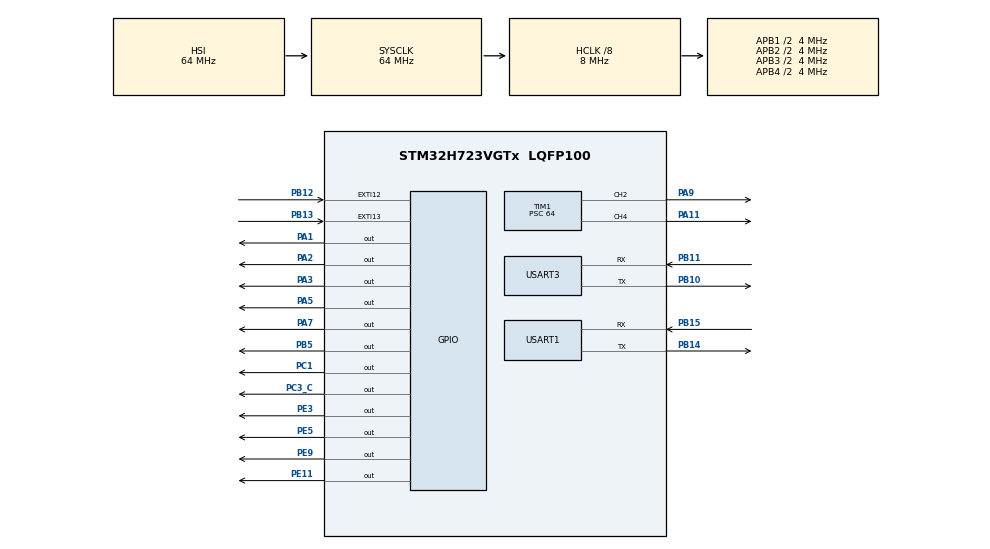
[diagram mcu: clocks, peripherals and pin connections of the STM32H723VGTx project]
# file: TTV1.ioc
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Dma.Request0=USART1_RX
Dma.Request1=USART1_TX
Dma.Request2=USART3_RX
Dma.Request3=USART3_TX
Dma.USART1_RX.0.Direction=DMA_PERIPH_TO_MEMORY
Dma.USART1_RX.0.EventEnable=DISABLE
Dma.USART1_RX.0.FIFOMode=DMA_FIFOMODE_DISABLE
Dma.USART1_RX.0.Instance=DMA1_Stream0
Dma.USART1_RX.0.MemDataAlignment=DMA_MDATAALIGN_BYTE
Dma.USART1_RX.0.MemInc=DMA_MINC_ENABLE
Dma.USART1_RX.0.Mode=DMA_NORMAL
Dma.USART1_RX.0.PeriphDataAlignment=DMA_PDATAALIGN_BYTE
Dma.USART1_RX.0.PeriphInc=DMA_PINC_DISABLE
Dma.USART1_RX.0.Polarity=HAL_DMAMUX_REQ_GEN_RISING
Dma.USART1_RX.0.Priority=DMA_PRIORITY_LOW
Dma.USART1_RX.0.RequestNumber=1
Dma.USART1_RX.0.SignalID=NONE
Dma.USART1_RX.0.SyncEnable=DISABLE
Dma.USART1_RX.0.SyncPolarity=HAL_DMAMUX_SYNC_NO_EVENT
Dma.USART1_RX.0.SyncRequestNumber=1
Dma.USART1_RX.0.SyncSignalID=NONE
Dma.USART1_TX.1.Direction=DMA_MEMORY_TO_PERIPH
Dma.USART1_TX.1.EventEnable=DISABLE
Dma.USART1_TX.1.FIFOMode=DMA_FIFOMODE_DISABLE
Dma.USART1_TX.1.Instance=DMA1_Stream1
Dma.USART1_TX.1.MemDataAlignment=DMA_MDATAALIGN_BYTE
Dma.USART1_TX.1.MemInc=DMA_MINC_ENABLE
Dma.USART1_TX.1.Mode=DMA_NORMAL
Dma.USART1_TX.1.PeriphDataAlignment=DMA_PDATAALIGN_BYTE
Dma.USART1_TX.1.PeriphInc=DMA_PINC_DISABLE
Dma.USART1_TX.1.Polarity=HAL_DMAMUX_REQ_GEN_RISING
Dma.USART1_TX.1.Priority=DMA_PRIORITY_LOW
Dma.USART1_TX.1.RequestNumber=1
Dma.USART1_TX.1.SignalID=NONE
Dma.USART1_TX.1.SyncEnable=DISABLE
Dma.USART1_TX.1.SyncPolarity=HAL_DMAMUX_SYNC_NO_EVENT
Dma.USART1_TX.1.SyncRequestNumber=1
Dma.USART1_TX.1.SyncSignalID=NONE
Dma.USART3_RX.2.Direction=DMA_PERIPH_TO_MEMORY
Dma.USART3_RX.2.EventEnable=DISABLE
Dma.USART3_RX.2.FIFOMode=DMA_FIFOMODE_DISABLE
Dma.USART3_RX.2.Instance=DMA1_Stream2
Dma.USART3_RX.2.MemDataAlignment=DMA_MDATAALIGN_BYTE
Dma.USART3_RX.2.MemInc=DMA_MINC_ENABLE
Dma.USART3_RX.2.Mode=DMA_NORMAL
Dma.USART3_RX.2.PeriphDataAlignment=DMA_PDATAALIGN_BYTE
Dma.USART3_RX.2.PeriphInc=DMA_PINC_DISABLE
Dma.USART3_RX.2.Polarity=HAL_DMAMUX_REQ_GEN_RISING
Dma.USART3_RX.2.Priority=DMA_PRIORITY_LOW
Dma.USART3_RX.2.RequestNumber=1
Dma.USART3_RX.2.SignalID=NONE
Dma.USART3_RX.2.SyncEnable=DISABLE
Dma.USART3_RX.2.SyncPolarity=HAL_DMAMUX_SYNC_NO_EVENT
Dma.USART3_RX.2.SyncRequestNumber=1
Dma.USART3_RX.2.SyncSignalID=NONE
Dma.USART3_TX.3.Direction=DMA_MEMORY_TO_PERIPH
Dma.USART3_TX.3.EventEnable=DISABLE
Dma.USART3_TX.3.FIFOMode=DMA_FIFOMODE_DISABLE
Dma.USART3_TX.3.Instance=DMA1_Stream3
Dma.USART3_TX.3.MemDataAlignment=DMA_MDATAALIGN_BYTE
Dma.USART3_TX.3.MemInc=DMA_MINC_ENABLE
Dma.USART3_TX.3.Mode=DMA_NORMAL
Dma.USART3_TX.3.PeriphDataAlignment=DMA_PDATAALIGN_BYTE
Dma.USART3_TX.3.PeriphInc=DMA_PINC_DISABLE
Dma.USART3_TX.3.Polarity=HAL_DMAMUX_REQ_GEN_RISING
Dma.USART3_TX.3.Priority=DMA_PRIORITY_LOW
Dma.USART3_TX.3.RequestNumber=1
Dma.USART3_TX.3.SignalID=NONE
Dma.USART3_TX.3.SyncEnable=DISABLE
Dma.USART3_TX.3.SyncPolarity=HAL_DMAMUX_SYNC_NO_EVENT
Dma.USART3_TX.3.SyncRequestNumber=1
Dma.USART3_TX.3.SyncSignalID=NONE
Mcu.Family=STM32H7
Mcu.Name=STM32H723VGTx
Mcu.Package=LQFP100
NVIC.DMA1_Stream0_IRQn=true\:0\:0\:false\:false\:true\:false\:true\:true
NVIC.DMA1_Stream1_IRQn=true\:0\:0\:false\:false\:true\:false\:true\:true
NVIC.DMA1_Stream2_IRQn=true\:0\:0\:false\:false\:true\:false\:true\:true
NVIC.DMA1_Stream3_IRQn=true\:0\:0\:false\:false\:true\:false\:true\:true
NVIC.EXTI15_10_IRQn=true\:0\:0\:false\:false\:true\:true\:true\:true
NVIC.PriorityGroup=NVIC_PRIORITYGROUP_4
NVIC.USART1_IRQn=true\:0\:0\:false\:false\:true\:true\:true\:true
NVIC.USART3_IRQn=true\:0\:0\:false\:false\:true\:true\:true\:true
PA1.Signal=GPIO_Output
PA11.Signal=S_TIM1_CH4
PA2.Signal=GPIO_Output
PA3.Signal=GPIO_Output
PA5.Signal=GPIO_Output
PA7.Signal=GPIO_Output
PA9.Signal=S_TIM1_CH2
PB10.Mode=Asynchronous
PB10.Signal=USART3_TX
PB11.Mode=Asynchronous
PB11.Signal=USART3_RX
PB12.GPIO_ModeDefaultEXTI=GPIO_MODE_IT_FALLING
PB12.GPIO_PuPd=GPIO_NOPULL
PB12.Signal=GPXTI12
PB13.GPIO_ModeDefaultEXTI=GPIO_MODE_IT_FALLING
PB13.GPIO_PuPd=GPIO_NOPULL
PB13.Signal=GPXTI13
PB14.Mode=Asynchronous
PB14.Signal=USART1_TX
PB15.Mode=Asynchronous
PB15.Signal=USART1_RX
PB5.Signal=GPIO_Output
PC1.Signal=GPIO_Output
PC3_C.Signal=GPIO_Output
PE11.Signal=GPIO_Output
PE3.Signal=GPIO_Output
PE5.Signal=GPIO_Output
PE9.Signal=GPIO_Output
PH0-OSC_IN.Mode=HSE-External-Oscillator
PH0-OSC_IN.Signal=RCC_OSC_IN
PH1-OSC_OUT.Mode=HSE-External-Oscillator
PH1-OSC_OUT.Signal=RCC_OSC_OUT
ProjectManager.HeapSize=0x200
ProjectManager.StackSize=0x400
ProjectManager.TargetToolchain=STM32CubeIDE
RCC.ADCCLockSelection=RCC_ADCCLKSOURCE_PLL2
RCC.ADCFreq_Value=50390625
RCC.APB1Freq_Value=4000000
RCC.APB2Freq_Value=4000000
RCC.APB3Freq_Value=4000000
RCC.APB4Freq_Value=4000000
RCC.CECCLockSelection=RCC_CECCLKSOURCE_LSI
RCC.CKPERSourceSelection=RCC_CLKPSOURCE_HSI
RCC.CSI_VALUE=4000000
RCC.CortexFreq_Value=8000000
RCC.Cortex_Div=SYSTICK_CLKSOURCE_HCLK
RCC.Cortex_DivARG=SystemCoreClock/1000
RCC.D1CPRE=RCC_SYSCLK_DIV8
RCC.D1PPRE=RCC_APB3_DIV2
RCC.D2PPRE1=RCC_APB1_DIV2
RCC.D2PPRE2=RCC_APB2_DIV2
RCC.D3PPRE=RCC_APB4_DIV2
RCC.DFSDMCLockSelection=RCC_DFSDM1CLKSOURCE_D2PCLK1
RCC.DIVM1=32
RCC.DIVM2=32
RCC.DIVM3=32
RCC.DIVN1=129
RCC.DIVN2=129
RCC.DIVN3=129
RCC.DIVP1=2
RCC.DIVP2=2
RCC.DIVP3=2
RCC.DIVQ1=2
RCC.DIVQ2=2
RCC.DIVQ3=2
RCC.DIVR1=2
RCC.DIVR2=2
RCC.DIVR3=2
RCC.DSICLockSelection=RCC_DSICLKSOURCE_PHY
RCC.DSIPHY_Div=8
RCC.DSITX_Div=4
RCC.DSI_PHY_VALUE=12288000
RCC.EXTERNAL_CLOCK_VALUE=12288000
RCC.FDCANCLockSelection=RCC_FDCANCLKSOURCE_PLL
RCC.FMCCLockSelection=RCC_FMCCLKSOURCE_D1HCLK
RCC.HCLKFreq_Value=8000000
RCC.HPRE=RCC_HCLK_DIV1
RCC.HSE_VALUE=25000000
RCC.HSI48_VALUE=48000000
RCC.HSIDiv=RCC_PLLSAIDIVR_1
RCC.HSI_VALUE=64000000
RCC.I2C123CLockSelection=RCC_I2C1235CLKSOURCE_D2PCLK1
RCC.I2C4CLockSelection=RCC_I2C4CLKSOURCE_D3PCLK1
RCC.LPTIM1CLockSelection=RCC_LPTIM1CLKSOURCE_D2PCLK1
RCC.LPTIM2CLockSelection=RCC_LPTIM2CLKSOURCE_D3PCLK1
RCC.LPTIM345CLockSelection=RCC_LPTIM345CLKSOURCE_D3PCLK1
RCC.LPUART1CLockSelection=RCC_LPUART1CLKSOURCE_D3PCLK1
RCC.PLL2_VCI_Range-AdvancedSettings=RCC_PLL2VCIRANGE_3
RCC.PLLDSIDev=2
RCC.PLLDSIIDF=DSI_PLL_IN_DIV1
RCC.PLLDSIMult=2
RCC.PLLDSINDIV=20
RCC.PLLDSIODF=DSI_PLL_OUT_DIV1
RCC.PLLSourceVirtual=RCC_PLLSOURCE_HSE
RCC.QSPICLockSelection=RCC_OSPICLKSOURCE_D1HCLK
RCC.RCC_MCO1Source=RCC_MCO1SOURCE_HSI
RCC.RCC_MCO2Source=RCC_MCO2SOURCE_SYSCLK
RCC.RCC_MCODiv1=RCC_MCODIV_1
RCC.RCC_MCODiv2=RCC_MCODIV_1
RCC.RCC_RTC_Clock_Source_FROM_HSE=RCC_RTCCLKSOURCE_HSE_DIV2
RCC.RNGCLockSelection=RCC_RNGCLKSOURCE_HSI48
RCC.SAI1CLockSelection=RCC_SAI1CLKSOURCE_PLL
RCC.SAI4ACLockSelection=RCC_SAI4ACLKSOURCE_PLL
RCC.SAI4BCLockSelection=RCC_SAI4BCLKSOURCE_PLL
RCC.SPDIFCLockSelection=RCC_SPDIFRXCLKSOURCE_PLL
RCC.SPI123CLockSelection=RCC_SPI123CLKSOURCE_PLL
RCC.SPI6CLockSelection=RCC_SPI6CLKSOURCE_D3PCLK1
RCC.SWPCLockSelection=RCC_SWPMI1CLKSOURCE_D2PCLK1
RCC.SYSCLKFreq_VALUE=64000000
RCC.SYSCLKSource=RCC_SYSCLKSOURCE_HSI
RCC.Spi45ClockSelection=RCC_SPI45CLKSOURCE_D2PCLK1
RCC.USART16CLockSelection=RCC_USART16910CLKSOURCE_D2PCLK2
RCC.USART234578CLockSelection=RCC_USART234578CLKSOURCE_D2PCLK1
RCC.USBCLockSelection=RCC_USBCLKSOURCE_PLL
RCC.USBFreq_Value=50390625
SH.S_TIM1_CH2.0=TIM1_CH2,PWM Generation2 CH2
SH.S_TIM1_CH4.0=TIM1_CH4,PWM Generation4 CH4
TIM1.Channel-PWM\ Generation2\ CH2=TIM_CHANNEL_2
TIM1.Channel-PWM\ Generation4\ CH4=TIM_CHANNEL_4
TIM1.Period=2499
TIM1.Prescaler=64
USART1.VirtualMode-Asynchronous=VM_ASYNC
USART3.VirtualMode-Asynchronous=VM_ASYNC
board=custom

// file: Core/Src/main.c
/* USER CODE BEGIN Header */
/**
  ******************************************************************************
  * @file           : main.c
  * @brief          : Main program body
  ******************************************************************************
  * @attention
  *
  * Copyright (c) 2024 STMicroelectronics.
  * All rights reserved.
  *
  * This software is licensed under terms that can be found in the LICENSE file
  * in the root directory of this software component.
  * If no LICENSE file comes with this software, it is provided AS-IS.
  *
  ******************************************************************************
  */
/* USER CODE END Header */
#include "main.h"
#include <stdlib.h>
#include <stdio.h>
#include <string.h>
#include <math.h>

/* USER CODE BEGIN PM */

#define VALOR_0 65
#define VALOR_PI 295

#define ENABLE_PIN GPIO_PIN_3
#define MS0_PIN GPIO_PIN_5
#define MS1_PIN GPIO_PIN_1
#define MS2_PIN GPIO_PIN_3

#define VELOCIDAD 0.5

#define bufersize 1
#define BUFFER_SIZE 256

/* USER CODE END PM */

TIM_HandleTypeDef htim1;

UART_HandleTypeDef huart1;
UART_HandleTypeDef huart3;
DMA_HandleTypeDef hdma_usart1_rx;
DMA_HandleTypeDef hdma_usart1_tx;
DMA_HandleTypeDef hdma_usart3_rx;
DMA_HandleTypeDef hdma_usart3_tx;

/* USER CODE BEGIN PV */
uint8_t byte;
uint8_t buffer[BUFFER_SIZE];
uint16_t bufferIndex = 0;
uint8_t bufferOverflowFlag = 0; // Bandera para indicar desbordamiento

GPIO_TypeDef* GPIO_PORT_LED = GPIOE;   // Puerto GPIO donde está conectado el LED
uint16_t GPIO_PIN_LED = GPIO_PIN_3;     // Pin GPIO que controla el LED

uint8_t stringToSend[] = "Hola";  // Define la cadena que deseas enviar
uint8_t prueba_1[] = "Flag_1";  // Define la cadena que deseas enviar
uint8_t tx1_buffer[20]="Welcome to stm32\n\r";
uint8_t tx2_buffer[20]="Welcome \n\r";
uint8_t rx1_buffer;
uint8_t received_data;

char q1[BUFFER_SIZE] = {0};
char q2[BUFFER_SIZE] = {0};
char q3[BUFFER_SIZE] = {0};
char q4[BUFFER_SIZE] = {0};

volatile uint8_t UASART = 0;

uint32_t radianes_a_valor(float radianes) {
    // Ajusta los radianes negativos a su equivalente positivo en el rango de 0 a 2PI
    if (radianes < 0) {
        //radianes +=2.87979;
    	radianes = 0;
    }

    // Normaliza el valor de radianes en el rango de 0 a PI
    if (radianes > M_PI) {
        radianes = M_PI;
    }

    return VALOR_0 + (uint32_t)((VALOR_PI - VALOR_0) * (radianes / M_PI));
}
uint32_t milimetros_a_pasos(float milimetros) {
    // Calcular el número de pasos necesarios para mover la distancia en milímetros
    float pasos_por_mm = 200.0 / 8.0; // 200 pasos por 8 mm
    return (uint32_t)(fabs(milimetros) * pasos_por_mm);
}
/* USER CODE END PV */

/* USER CODE BEGIN 4 */
volatile uint8_t motor_running = 1;// Variable to control motor state
volatile uint8_t motor_running1 = 1;

volatile int pasos_retroceso = 0;

void HAL_GPIO_EXTI_Callback(uint16_t GPIO_Pin) {
    if (GPIO_Pin == GPIO_PIN_12) {
        motor_running = 0; // Stop the motor when the interrupt occurs
    }

    if (GPIO_Pin == GPIO_PIN_13) {
    	motor_running1 = 0; // Stop the motor when the interrupt occurs
    }
}

int paso_actual_q1 = 0;
int paso_actual_q2 = 5350;
int paso_actual_q3 = 0;

float q1_float;
float q4_float;
int q2_int;
int q3_int;

/* USER CODE END PV */

/* Private function prototypes -----------------------------------------------*/
void SystemClock_Config(void);
static void MX_GPIO_Init(void);
static void MX_USART1_UART_Init(void);
static void MX_DMA_Init(void);
static void MX_TIM1_Init(void);
static void MX_USART3_UART_Init(void);

void processBuffer(uint8_t *buffer, uint16_t length);
void A4988_Setup();
void mover_motorq1(float radianes);
void motor_control(void);
void motor_control1(void);
void Home (void);
void mover_motorq2_mm(float milimetros);
void mover_motorq3_mm(float milimetros);

/* USER CODE BEGIN PFP */

/* USER CODE END PFP */

/* Private user code ---------------------------------------------------------*/
/* USER CODE BEGIN 0 */

/* USER CODE END 0 */

/**
  * @brief  The application entry point.
  * @retval int
  */
int main(void)
{
  /* USER CODE BEGIN 1 */

  /* USER CODE END 1 */

  /* MCU Configuration--------------------------------------------------------*/

  /* Reset of all peripherals, Initializes the Flash interface and the Systick. */
  HAL_Init();

  /* USER CODE BEGIN Init */

  /* USER CODE END Init */

  /* Configure the system clock */
  SystemClock_Config();

  /* USER CODE BEGIN SysInit */

  /* USER CODE END SysInit */

  /* Initialize all configured peripherals */
  MX_GPIO_Init();
  MX_USART1_UART_Init();
  MX_DMA_Init();
  MX_TIM1_Init();
  MX_USART3_UART_Init();
  /* USER CODE BEGIN 2 */
  HAL_TIM_PWM_Start(&htim1, TIM_CHANNEL_4);
  HAL_TIM_PWM_Start(&htim1, TIM_CHANNEL_2);
  //HAL_UART_Receive_IT(&huart3, &rx1_buffer, sizeof(rx1_buffer));
  HAL_UART_Receive_IT(&huart1,&byte,bufersize);

  A4988_Setup();
  //Home();

    //char q1[]="1.5707";
  	//char q2[]="150";
  	//char q3[]="0";
  	//char q4[]="1.5707";

  	// Conversión de q1 y q4 a float
  	//q1_float = atof(q1);
  	//q4_float = atof(q4);

  	// Conversión de q2 y q3 a int (truncando los valores decimales)
  	//q2_int = (int)atof(q2);
  	//q3_int = (int)atof(q3);

  	 //mover_motorq1(q1_float);
  	 //mover_motorq2_mm(q2_int);
  	 //mover_motorq3_mm(q3_int);
  	 //TIM1->CCR2 = radianes_a_valor(q4_float);

  	 //HAL_Delay(2000);

  	 //strcpy(q1, "2.8274");
  	 //strcpy(q2, "155");

  	 // Conversión de q1 y q4 a float
  	 //q1_float = atof(q1);

  	 // Conversión de q2 y q3 a int (truncando los valores decimales)
  	 //q2_int = (int)atof(q2);

  	 //mover_motorq1(q1_float);
  	// mover_motorq2_mm(q2_int);
  	 //mover_motorq3_mm(q3_int);
  	// TIM1->CCR2 = radianes_a_valor(q4_float);

  	 //HAL_Delay(2000);

  	 //strcpy(q1, "4.084");
  	 //strcpy(q2, "145");

  	 // Conversión de q1 y q4 a float
  	 //q1_float = atof(q1);

  	 // Conversión de q2 y q3 a int (truncando los valores decimales)
  	 //q2_int = (int)atof(q2);

  	 //mover_motorq1(q1_float);
  	 //mover_motorq2_mm(q2_int);
  	 //mover_motorq3_mm(q3_int);
  	 //TIM1->CCR2 = radianes_a_valor(q4_float);

  	 //HAL_Delay(2000);

  	//strcpy(q1, "1.5707");
  	//strcpy(q2, "140");
  	//strcpy(q3, "48");
  	//strcpy(q4, "1.74533");

  	// Conversión de q1 y q4 a float
  	//q1_float = atof(q1);
  	//q4_float = atof(q4);

  	// Conversión de q2 y q3 a int (truncando los valores decimales)
  	//q2_int = (int)atof(q2);
  	//q3_int = (int)atof(q3);

  	//mover_motorq1(q1_float);
  	//mover_motorq2_mm(q2_int);
  	//mover_motorq3_mm(q3_int);
  	//TIM1->CCR2 = radianes_a_valor(q4_float);

  	//HAL_Delay(2000);

  	//strcpy(q1, "3.1415");
  	//strcpy(q2, "145");
  	//strcpy(q3, "95");
  	//strcpy(q4, "1.8326");

  	// Conversión de q1 y q4 a float
  	//q1_float = atof(q1);
  	//q4_float = atof(q4);

  	// Conversión de q2 y q3 a int (truncando los valores decimales)
  	//q2_int = (int)atof(q2);
  	//q3_int = (int)atof(q3);

  	//mover_motorq1(q1_float);
  	//mover_motorq2_mm(q2_int);
  	//mover_motorq3_mm(q3_int);
  	//TIM1->CCR2 = radianes_a_valor(q4_float);

  	//HAL_Delay(2000);

  	//strcpy(q1, "2.82743");
  	//strcpy(q2, "165");
  	//strcpy(q3, "179");
  	//strcpy(q4, "1.91986");

  	// Conversión de q1 y q4 a float
  	//q1_float = atof(q1);
  	//q4_float = atof(q4);

  	// Conversión de q2 y q3 a int (truncando los valores decimales)
//  	q2_int = (int)atof(q2);
//  	q3_int = (int)atof(q3);
//
//  	mover_motorq1(q1_float);
//  	mover_motorq2_mm(q2_int);
//  	mover_motorq3_mm(q3_int);
//  	TIM1->CCR2 = radianes_a_valor(q4_float);
//
//  	HAL_Delay(2000);
//  TIM1->CCR2 = 181;
//  TIM1->CCR4 = 183;
//  mover_motorq1(0);
//  mover_motorq2_mm(0);
//  mover_motorq3_mm(215);
//  TIM1->CCR2 = radianes_a_valor(1.5707);
//
//
//  mover_motorq1(0);
//  mover_motorq2_mm(100);
//  mover_motorq3_mm(100);
  TIM1->CCR2 = radianes_a_valor(M_PI/2);
  TIM1->CCR4 = radianes_a_valor(M_PI/4);
//
//  mover_motorq1(0);
//  HAL_Delay(2000);
//  mover_motorq1(M_PI/2);
//  HAL_Delay(2000);
//  mover_motorq1(M_PI);
//  HAL_Delay(2000);
//  mover_motorq1((3*M_PI)/2);
//  HAL_Delay(2000);
//  mover_motorq1(2*M_PI);
//  HAL_Delay(2000);
//  mover_motorq1(M_PI/4);
//  HAL_Delay(2000);
//  mover_motorq1((3*M_PI)/4);
//  HAL_Delay(2000);
//  mover_motorq1(0);
//  HAL_Delay(2000);
//  mover_motorq2_mm(210);
//  mover_motorq3_mm(215);
//  TIM1->CCR2 = radianes_a_valor(1.85912472);

//  TIM1->CCR2 = radianes_a_valor(0);
//  HAL_Delay(2000);
//  TIM1->CCR2 = radianes_a_valor(1.5708);
//    HAL_Delay(2000);
//    TIM1->CCR2 = radianes_a_valor(M_PI);
//      HAL_Delay(2000);

//  TIM1->CCR2 = 298;
//
//  TIM1->CCR2 = 299;
//
//  TIM1->CCR2 = 300;
//
//  TIM1->CCR2 = 301;
//
//  TIM1->CCR2 = 302;
//
//  TIM1->CCR2 = 303;
//
//  TIM1->CCR2 = 304;
  /* USER CODE END 2 */

  /* Infinite loop */
  /* USER CODE BEGIN WHILE */
  while (1)
  {

//	     q1_float = atof(q1);
//	     q4_float = atof(q4);
//
//	      	// Conversión de q2 y q3 a int (truncando los valores decimales)
//	     q2_int = (int)atof(q2);
//	     q3_int = (int)atof(q3);

  }
  /* USER CODE END 3 */
}

/**
  * @brief System Clock Configuration
  * @retval None
  */
void SystemClock_Config(void)
{
  RCC_OscInitTypeDef RCC_OscInitStruct = {0};
  RCC_ClkInitTypeDef RCC_ClkInitStruct = {0};

  /** Supply configuration update enable
  */
  HAL_PWREx_ConfigSupply(PWR_LDO_SUPPLY);

  /** Configure the main internal regulator output voltage
  */
  __HAL_PWR_VOLTAGESCALING_CONFIG(PWR_REGULATOR_VOLTAGE_SCALE3);

  while(!__HAL_PWR_GET_FLAG(PWR_FLAG_VOSRDY)) {}

  /** Initializes the RCC Oscillators according to the specified parameters
  * in the RCC_OscInitTypeDef structure.
  */
  RCC_OscInitStruct.OscillatorType = RCC_OSCILLATORTYPE_HSI;
  RCC_OscInitStruct.HSIState = RCC_HSI_DIV1;
  RCC_OscInitStruct.HSICalibrationValue = RCC_HSICALIBRATION_DEFAULT;
  RCC_OscInitStruct.PLL.PLLState = RCC_PLL_NONE;
  if (HAL_RCC_OscConfig(&RCC_OscInitStruct) != HAL_OK)
  {
    Error_Handler();
  }

  /** Initializes the CPU, AHB and APB buses clocks
  */
  RCC_ClkInitStruct.ClockType = RCC_CLOCKTYPE_HCLK|RCC_CLOCKTYPE_SYSCLK
                              |RCC_CLOCKTYPE_PCLK1|RCC_CLOCKTYPE_PCLK2
                              |RCC_CLOCKTYPE_D3PCLK1|RCC_CLOCKTYPE_D1PCLK1;
  RCC_ClkInitStruct.SYSCLKSource = RCC_SYSCLKSOURCE_HSI;
  RCC_ClkInitStruct.SYSCLKDivider = RCC_SYSCLK_DIV8;
  RCC_ClkInitStruct.AHBCLKDivider = RCC_HCLK_DIV1;
  RCC_ClkInitStruct.APB3CLKDivider = RCC_APB3_DIV2;
  RCC_ClkInitStruct.APB1CLKDivider = RCC_APB1_DIV2;
  RCC_ClkInitStruct.APB2CLKDivider = RCC_APB2_DIV2;
  RCC_ClkInitStruct.APB4CLKDivider = RCC_APB4_DIV2;

  if (HAL_RCC_ClockConfig(&RCC_ClkInitStruct, FLASH_LATENCY_0) != HAL_OK)
  {
    Error_Handler();
  }
}

/**
  * @brief TIM1 Initialization Function
  * @param None
  * @retval None
  */
static void MX_TIM1_Init(void)
{

  /* USER CODE BEGIN TIM1_Init 0 */

  /* USER CODE END TIM1_Init 0 */

  TIM_MasterConfigTypeDef sMasterConfig = {0};
  TIM_OC_InitTypeDef sConfigOC = {0};
  TIM_BreakDeadTimeConfigTypeDef sBreakDeadTimeConfig = {0};

  /* USER CODE BEGIN TIM1_Init 1 */

  /* USER CODE END TIM1_Init 1 */
  htim1.Instance = TIM1;
  htim1.Init.Prescaler = 64;
  htim1.Init.CounterMode = TIM_COUNTERMODE_UP;
  htim1.Init.Period = 2499;
  htim1.Init.ClockDivision = TIM_CLOCKDIVISION_DIV1;
  htim1.Init.RepetitionCounter = 0;
  htim1.Init.AutoReloadPreload = TIM_AUTORELOAD_PRELOAD_DISABLE;
  if (HAL_TIM_PWM_Init(&htim1) != HAL_OK)
  {
    Error_Handler();
  }
  sMasterConfig.MasterOutputTrigger = TIM_TRGO_RESET;
  sMasterConfig.MasterOutputTrigger2 = TIM_TRGO2_RESET;
  sMasterConfig.MasterSlaveMode = TIM_MASTERSLAVEMODE_DISABLE;
  if (HAL_TIMEx_MasterConfigSynchronization(&htim1, &sMasterConfig) != HAL_OK)
  {
    Error_Handler();
  }
  sConfigOC.OCMode = TIM_OCMODE_PWM1;
  sConfigOC.Pulse = 0;
  sConfigOC.OCPolarity = TIM_OCPOLARITY_HIGH;
  sConfigOC.OCNPolarity = TIM_OCNPOLARITY_HIGH;
  sConfigOC.OCFastMode = TIM_OCFAST_DISABLE;
  sConfigOC.OCIdleState = TIM_OCIDLESTATE_RESET;
  sConfigOC.OCNIdleState = TIM_OCNIDLESTATE_RESET;
  if (HAL_TIM_PWM_ConfigChannel(&htim1, &sConfigOC, TIM_CHANNEL_2) != HAL_OK)
  {
    Error_Handler();
  }
  if (HAL_TIM_PWM_ConfigChannel(&htim1, &sConfigOC, TIM_CHANNEL_4) != HAL_OK)
  {
    Error_Handler();
  }
  sBreakDeadTimeConfig.OffStateRunMode = TIM_OSSR_DISABLE;
  sBreakDeadTimeConfig.OffStateIDLEMode = TIM_OSSI_DISABLE;
  sBreakDeadTimeConfig.LockLevel = TIM_LOCKLEVEL_OFF;
  sBreakDeadTimeConfig.DeadTime = 0;
  sBreakDeadTimeConfig.BreakState = TIM_BREAK_DISABLE;
  sBreakDeadTimeConfig.BreakPolarity = TIM_BREAKPOLARITY_HIGH;
  sBreakDeadTimeConfig.BreakFilter = 0;
  sBreakDeadTimeConfig.Break2State = TIM_BREAK2_DISABLE;
  sBreakDeadTimeConfig.Break2Polarity = TIM_BREAK2POLARITY_HIGH;
  sBreakDeadTimeConfig.Break2Filter = 0;
  sBreakDeadTimeConfig.AutomaticOutput = TIM_AUTOMATICOUTPUT_DISABLE;
  if (HAL_TIMEx_ConfigBreakDeadTime(&htim1, &sBreakDeadTimeConfig) != HAL_OK)
  {
    Error_Handler();
  }
  /* USER CODE BEGIN TIM1_Init 2 */

  /* USER CODE END TIM1_Init 2 */
  HAL_TIM_MspPostInit(&htim1);

}

/**
  * @brief USART1 Initialization Function
  * @param None
  * @retval None
  */
static void MX_USART1_UART_Init(void)
{

  /* USER CODE BEGIN USART1_Init 0 */

  /* USER CODE END USART1_Init 0 */

  /* USER CODE BEGIN USART1_Init 1 */

  /* USER CODE END USART1_Init 1 */
  huart1.Instance = USART1;
  huart1.Init.BaudRate = 115200;
  huart1.Init.WordLength = UART_WORDLENGTH_8B;
  huart1.Init.StopBits = UART_STOPBITS_1;
  huart1.Init.Parity = UART_PARITY_NONE;
  huart1.Init.Mode = UART_MODE_TX_RX;
  huart1.Init.HwFlowCtl = UART_HWCONTROL_NONE;
  huart1.Init.OverSampling = UART_OVERSAMPLING_16;
  huart1.Init.OneBitSampling = UART_ONE_BIT_SAMPLE_DISABLE;
  huart1.Init.ClockPrescaler = UART_PRESCALER_DIV1;
  huart1.AdvancedInit.AdvFeatureInit = UART_ADVFEATURE_NO_INIT;
  if (HAL_UART_Init(&huart1) != HAL_OK)
  {
    Error_Handler();
  }
  if (HAL_UARTEx_SetTxFifoThreshold(&huart1, UART_TXFIFO_THRESHOLD_1_8) != HAL_OK)
  {
    Error_Handler();
  }
  if (HAL_UARTEx_SetRxFifoThreshold(&huart1, UART_RXFIFO_THRESHOLD_1_8) != HAL_OK)
  {
    Error_Handler();
  }
  if (HAL_UARTEx_DisableFifoMode(&huart1) != HAL_OK)
  {
    Error_Handler();
  }
  /* USER CODE BEGIN USART1_Init 2 */

  /* USER CODE END USART1_Init 2 */

}

/**
  * @brief USART3 Initialization Function
  * @param None
  * @retval None
  */
static void MX_USART3_UART_Init(void)
{

  /* USER CODE BEGIN USART3_Init 0 */

  /* USER CODE END USART3_Init 0 */

  /* USER CODE BEGIN USART3_Init 1 */

  /* USER CODE END USART3_Init 1 */
  huart3.Instance = USART3;
  huart3.Init.BaudRate = 115200;
  huart3.Init.WordLength = UART_WORDLENGTH_8B;
  huart3.Init.StopBits = UART_STOPBITS_1;
  huart3.Init.Parity = UART_PARITY_NONE;
  huart3.Init.Mode = UART_MODE_TX_RX;
  huart3.Init.HwFlowCtl = UART_HWCONTROL_NONE;
  huart3.Init.OverSampling = UART_OVERSAMPLING_16;
  huart3.Init.OneBitSampling = UART_ONE_BIT_SAMPLE_DISABLE;
  huart3.Init.ClockPrescaler = UART_PRESCALER_DIV1;
  huart3.AdvancedInit.AdvFeatureInit = UART_ADVFEATURE_NO_INIT;
  if (HAL_UART_Init(&huart3) != HAL_OK)
  {
    Error_Handler();
  }
  if (HAL_UARTEx_SetTxFifoThreshold(&huart3, UART_TXFIFO_THRESHOLD_1_8) != HAL_OK)
  {
    Error_Handler();
  }
  if (HAL_UARTEx_SetRxFifoThreshold(&huart3, UART_RXFIFO_THRESHOLD_1_8) != HAL_OK)
  {
    Error_Handler();
  }
  if (HAL_UARTEx_DisableFifoMode(&huart3) != HAL_OK)
  {
    Error_Handler();
  }
  /* USER CODE BEGIN USART3_Init 2 */

  /* USER CODE END USART3_Init 2 */

}

/**
  * Enable DMA controller clock
  */
static void MX_DMA_Init(void)
{

  /* DMA controller clock enable */
  __HAL_RCC_DMA1_CLK_ENABLE();

  /* DMA interrupt init */
  /* DMA1_Stream0_IRQn interrupt configuration */
  HAL_NVIC_SetPriority(DMA1_Stream0_IRQn, 0, 0);
  HAL_NVIC_EnableIRQ(DMA1_Stream0_IRQn);
  /* DMA1_Stream1_IRQn interrupt configuration */
  HAL_NVIC_SetPriority(DMA1_Stream1_IRQn, 0, 0);
  HAL_NVIC_EnableIRQ(DMA1_Stream1_IRQn);
  /* DMA1_Stream2_IRQn interrupt configuration */
  HAL_NVIC_SetPriority(DMA1_Stream2_IRQn, 0, 0);
  HAL_NVIC_EnableIRQ(DMA1_Stream2_IRQn);
  /* DMA1_Stream3_IRQn interrupt configuration */
  HAL_NVIC_SetPriority(DMA1_Stream3_IRQn, 0, 0);
  HAL_NVIC_EnableIRQ(DMA1_Stream3_IRQn);

}

/**
  * @brief GPIO Initialization Function
  * @param None
  * @retval None
  */
static void MX_GPIO_Init(void)
{
  GPIO_InitTypeDef GPIO_InitStruct = {0};

  /* GPIO Ports Clock Enable */
  __HAL_RCC_GPIOE_CLK_ENABLE();
  __HAL_RCC_GPIOC_CLK_ENABLE();
  __HAL_RCC_GPIOH_CLK_ENABLE();
  __HAL_RCC_GPIOA_CLK_ENABLE();
  __HAL_RCC_GPIOB_CLK_ENABLE();

  /*Configure GPIO pin Output Level */
  HAL_GPIO_WritePin(GPIOE, GPIO_PIN_3|GPIO_PIN_5|GPIO_PIN_9|GPIO_PIN_11, GPIO_PIN_RESET);

  /*Configure GPIO pin Output Level */
  HAL_GPIO_WritePin(GPIOC, GPIO_PIN_1|GPIO_PIN_3, GPIO_PIN_RESET);

  /*Configure GPIO pin Output Level */
  HAL_GPIO_WritePin(GPIOA, GPIO_PIN_1|GPIO_PIN_2|GPIO_PIN_3|GPIO_PIN_5
                          |GPIO_PIN_7, GPIO_PIN_RESET);

  /*Configure GPIO pin Output Level */
  HAL_GPIO_WritePin(GPIOB, GPIO_PIN_5, GPIO_PIN_RESET);

  /*Configure GPIO pins : PE3 PE5 PE9 PE11 */
  GPIO_InitStruct.Pin = GPIO_PIN_3|GPIO_PIN_5|GPIO_PIN_9|GPIO_PIN_11;
  GPIO_InitStruct.Mode = GPIO_MODE_OUTPUT_PP;
  GPIO_InitStruct.Pull = GPIO_NOPULL;
  GPIO_InitStruct.Speed = GPIO_SPEED_FREQ_LOW;
  HAL_GPIO_Init(GPIOE, &GPIO_InitStruct);

  /*Configure GPIO pins : PC1 PC3 */
  GPIO_InitStruct.Pin = GPIO_PIN_1|GPIO_PIN_3;
  GPIO_InitStruct.Mode = GPIO_MODE_OUTPUT_PP;
  GPIO_InitStruct.Pull = GPIO_NOPULL;
  GPIO_InitStruct.Speed = GPIO_SPEED_FREQ_LOW;
  HAL_GPIO_Init(GPIOC, &GPIO_InitStruct);

  /*Configure GPIO pins : PA1 PA2 PA3 PA5
                           PA7 */
  GPIO_InitStruct.Pin = GPIO_PIN_1|GPIO_PIN_2|GPIO_PIN_3|GPIO_PIN_5
                          |GPIO_PIN_7;
  GPIO_InitStruct.Mode = GPIO_MODE_OUTPUT_PP;
  GPIO_InitStruct.Pull = GPIO_NOPULL;
  GPIO_InitStruct.Speed = GPIO_SPEED_FREQ_LOW;
  HAL_GPIO_Init(GPIOA, &GPIO_InitStruct);

  /*Configure GPIO pins : PB12 PB13 */
  GPIO_InitStruct.Pin = GPIO_PIN_12|GPIO_PIN_13;
  GPIO_InitStruct.Mode = GPIO_MODE_IT_FALLING;
  GPIO_InitStruct.Pull = GPIO_NOPULL;
  HAL_GPIO_Init(GPIOB, &GPIO_InitStruct);

  /*Configure GPIO pin : PB5 */
  GPIO_InitStruct.Pin = GPIO_PIN_5;
  GPIO_InitStruct.Mode = GPIO_MODE_OUTPUT_PP;
  GPIO_InitStruct.Pull = GPIO_NOPULL;
  GPIO_InitStruct.Speed = GPIO_SPEED_FREQ_LOW;
  HAL_GPIO_Init(GPIOB, &GPIO_InitStruct);

  /* EXTI interrupt init*/
  HAL_NVIC_SetPriority(EXTI15_10_IRQn, 0, 0);
  HAL_NVIC_EnableIRQ(EXTI15_10_IRQn);

}

/* USER CODE BEGIN 4 */

void HAL_UART_RxCpltCallback(UART_HandleTypeDef *huart)
{
    if (huart->Instance == USART1)
    {
        //HAL_GPIO_WritePin(GPIOE, GPIO_PIN_LED, GPIO_PIN_SET); // Enciende el LED
        //HAL_UART_Transmit(&huart1,&byte,1, 100); // Envía la cadena a través de UART

        // Almacenar el byte recibido en el buffer si no es '>'
        if (byte != 62) // 62 es el código ASCII para '>'
        {

            if (bufferIndex < BUFFER_SIZE)
            {

                buffer[bufferIndex++] = byte;

            }
            else
            {
                // Manejar el caso de desbordamiento del buffer
                bufferOverflowFlag = 1; // Establecer la bandera de desbordamiento
                bufferIndex = 0; // Opcional: restablecer el índice del buffer
            }
        }
        else
        {
            // Aquí puedes manejar el caso cuando se recibe '>'
            // Por ejemplo, procesar el buffer y restablecer bufferIndex
        	 //HAL_UART_Transmit(&huart1, prueba_1, sizeof(prueba_1) - 1, 100);
        	 //HAL_UART_Transmit(&huart1, buffer,bufferIndex, 100);// Envía la cadena a través de UART
            processBuffer(buffer, bufferIndex);
            bufferIndex = 0;
        }

        HAL_UART_Receive_IT(&huart1, &byte, 1);

        // Vuelve a habilitar la recepción por interrupción

    }
}

void processBuffer(uint8_t *buffer, uint16_t length)
{
    if (bufferOverflowFlag)
    {
        // Manejar el desbordamiento del buffer
        // Por ejemplo, enviar un mensaje de error o realizar acciones correctivas
        HAL_UART_Transmit(&huart1, (uint8_t *)"Buffer overflow\n", 16, 100);
        bufferOverflowFlag = 0; // Restablecer la bandera de desbordamiento
        return;
    }

    // Variables para almacenar las partes separadas
//    char q1[BUFFER_SIZE] = {0};
//    char q2[BUFFER_SIZE] = {0};
//    char q3[BUFFER_SIZE] = {0};
//    char q4[BUFFER_SIZE] = {0};

    // Punteros para la división de la cadena
    char *ptr = (char *)buffer;
    char *start = ptr;
    char *end = strchr(start, 'a');

    if (end != NULL)
    {
        strncpy(q1, start, end - start);
        start = end + 1;
        end = strchr(start, 'b');

        if (end != NULL)
        {
            strncpy(q2, start, end - start);
            start = end + 1;
            end = strchr(start, 'c');

            if (end != NULL)
            {
                strncpy(q3, start, end - start);
                start = end + 1;
                strcpy(q4, start);
            }
        }
    }

    // Enviar cada parte a través de UART para verificar
    HAL_UART_Transmit(&huart1, (uint8_t *)q1, strlen(q1), 100); // 0 puntos desfazados
    //HAL_UART_Transmit(&huart1, (uint8_t *)q2, strlen(q2), 100); // 5 puntos desfazados
    //HAL_UART_Transmit(&huart1, (uint8_t *)q3, strlen(q3), 100); // 2 puntos malos
    //HAL_UART_Transmit(&huart1, (uint8_t *)q4, strlen(q4), 100); // Enviar q4 si hay datos
}

void A4988_Setup() {
    // Configurar pines de modo (MS0, MS1, MS2) para medio paso
    HAL_GPIO_WritePin(GPIOE, MS0_PIN, GPIO_PIN_SET);
    HAL_GPIO_WritePin(GPIOC, MS1_PIN, GPIO_PIN_RESET);
    HAL_GPIO_WritePin(GPIOC, MS2_PIN, GPIO_PIN_RESET);
    HAL_GPIO_WritePin(GPIOE, ENABLE_PIN, GPIO_PIN_RESET);
}

void Home (void){
	TIM1->CCR4 = 180;
	TIM1->CCR2 =183;
	mover_motorq1(0);
	motor_control();
	motor_control1();
}

void motor_control(void) {
    while (motor_running) {
        HAL_GPIO_WritePin(GPIOA, GPIO_PIN_7, GPIO_PIN_RESET);
        for (int i = 0; i < 1000 && motor_running; i++) {
            HAL_GPIO_WritePin(GPIOA, GPIO_PIN_5, GPIO_PIN_SET);
            HAL_Delay(VELOCIDAD);
            HAL_GPIO_WritePin(GPIOA, GPIO_PIN_5, GPIO_PIN_RESET);
            HAL_Delay(VELOCIDAD);
        }
        if (!motor_running) break; // Check if motor_running is false

        HAL_Delay(500);
    }

    HAL_GPIO_WritePin(GPIOA, GPIO_PIN_7, GPIO_PIN_SET);
    for (int i = 0; i < 2500; i++) {
    	HAL_GPIO_WritePin(GPIOA, GPIO_PIN_5, GPIO_PIN_SET);
    	HAL_Delay(VELOCIDAD);
    	HAL_GPIO_WritePin(GPIOA, GPIO_PIN_5, GPIO_PIN_RESET);
    	HAL_Delay(VELOCIDAD);

    	paso_actual_q2--;
    }
    HAL_Delay(500);
    motor_running = 1;
}

void motor_control1(void) {
    while (motor_running1) {
        HAL_GPIO_WritePin(GPIOE, GPIO_PIN_11, GPIO_PIN_SET);
        for (int i = 0; i < 1000 && motor_running1; i++) {
            HAL_GPIO_WritePin(GPIOE, GPIO_PIN_9, GPIO_PIN_SET);
            HAL_Delay(VELOCIDAD);
            HAL_GPIO_WritePin(GPIOE, GPIO_PIN_9, GPIO_PIN_RESET);
            HAL_Delay(VELOCIDAD);
        }
        HAL_Delay(10);
        if (!motor_running1) break; // Check if motor_running is false
        HAL_Delay(500);

    }

    HAL_GPIO_WritePin(GPIOE, GPIO_PIN_11, GPIO_PIN_RESET);
    for (int i = 0; i < 80; i++) {
    	HAL_GPIO_WritePin(GPIOE, GPIO_PIN_9, GPIO_PIN_SET);
    	HAL_Delay(VELOCIDAD);
    	HAL_GPIO_WritePin(GPIOE, GPIO_PIN_9, GPIO_PIN_RESET);
    	HAL_Delay(VELOCIDAD);
    }
    HAL_Delay(500);

    motor_running1 = 1;
}

void mover_motorq1(float radianes) {
    // Convertir radianes a pasos
    int pasos = (int)((radianes / (2 * M_PI)) * 400);

    // Calcular el nuevo paso deseado
    int nuevo_paso = pasos;

    // Calcular la diferencia de pasos
    int diferencia_pasos = nuevo_paso - paso_actual_q1;

    if (diferencia_pasos > 0) {
        // Movimiento hacia adelante
        HAL_GPIO_WritePin(GPIOA, GPIO_PIN_3, GPIO_PIN_RESET);
        for (int i = 0; i < diferencia_pasos; i++) {
            HAL_GPIO_WritePin(GPIOA, GPIO_PIN_1, GPIO_PIN_SET);
            HAL_Delay(VELOCIDAD);
            HAL_GPIO_WritePin(GPIOA, GPIO_PIN_1, GPIO_PIN_RESET);
            HAL_Delay(VELOCIDAD);
        }
    } else if (diferencia_pasos < 0) {
        // Movimiento hacia atrás
        HAL_GPIO_WritePin(GPIOA, GPIO_PIN_3, GPIO_PIN_SET);
        diferencia_pasos = -diferencia_pasos; // Hacer positiva la diferencia para el bucle
        for (int i = 0; i < diferencia_pasos; i++) {
            HAL_GPIO_WritePin(GPIOA, GPIO_PIN_1, GPIO_PIN_SET);
            HAL_Delay(VELOCIDAD);
            HAL_GPIO_WritePin(GPIOA, GPIO_PIN_1, GPIO_PIN_RESET);
            HAL_Delay(VELOCIDAD);
        }
    }

    // Actualizar el paso actual
    paso_actual_q1 = nuevo_paso;

    HAL_Delay(1000);
}

void mover_motorq2_mm(float milimetros) {
    // Limitar el rango de movimiento entre 0 y 200 mm
	//milimetros= milimetros - 100;

    if (milimetros < 0) {
        milimetros = 0;
    } else if (milimetros > 210) {
        milimetros = 210;
    }

    // Convertir milímetros a pasos
    uint32_t pasos = milimetros_a_pasos(milimetros);

    // Calcular la diferencia de pasos respecto a la posición actual
    int diferencia_pasos = pasos - paso_actual_q2;

    if (diferencia_pasos != 0) {
        if (diferencia_pasos > 0) {
            // Movimiento hacia adelante
            HAL_GPIO_WritePin(GPIOA, GPIO_PIN_7, GPIO_PIN_RESET); // Dirección positiva
        } else {
            // Movimiento hacia atrás
            HAL_GPIO_WritePin(GPIOA, GPIO_PIN_7, GPIO_PIN_SET); // Dirección negativa
            diferencia_pasos = -diferencia_pasos; // Hacer positiva la diferencia para el bucle
        }

        // Mover el motor la cantidad de pasos necesarios
        for (int i = 0; i < diferencia_pasos; i++) {
            HAL_GPIO_WritePin(GPIOA, GPIO_PIN_5, GPIO_PIN_SET);
            HAL_Delay(VELOCIDAD);
            HAL_GPIO_WritePin(GPIOA, GPIO_PIN_5, GPIO_PIN_RESET);
            HAL_Delay(VELOCIDAD);
        }

        // Actualizar el paso actual
        paso_actual_q2 = pasos;
    }

    HAL_Delay(1000); // Pequeña pausa después de mover el motor
}

void mover_motorq3_mm(float milimetros) {
    // Limitar el rango de movimiento entre 0 y 200 mm
	if (milimetros < 0) milimetros = 0;
	if (milimetros > 215) milimetros = 215;

	// Convertir el punto de referencia de 100 mm a 0 mm para los cálculos
	//milimetros -= 100;

	// Convertir milímetros a pasos
    uint32_t pasos = milimetros_a_pasos(milimetros);

    // Calcular la nueva posición deseada
    int nuevo_paso = pasos;

    // Calcular la diferencia de pasos
    int diferencia_pasos = nuevo_paso - paso_actual_q3;

    if (diferencia_pasos > 0) {
        // Movimiento hacia adelante
        HAL_GPIO_WritePin(GPIOE, GPIO_PIN_11, GPIO_PIN_RESET); // Dirección positiva
        for (int i = 0; i < diferencia_pasos; i++) {
            HAL_GPIO_WritePin(GPIOE, GPIO_PIN_9, GPIO_PIN_SET);
            HAL_Delay(VELOCIDAD);
            HAL_GPIO_WritePin(GPIOE, GPIO_PIN_9, GPIO_PIN_RESET);
            HAL_Delay(VELOCIDAD);
        }
    } else if (diferencia_pasos < 0) {
        // Movimiento hacia atrás
        HAL_GPIO_WritePin(GPIOE, GPIO_PIN_11, GPIO_PIN_SET); // Dirección negativa
        diferencia_pasos = -diferencia_pasos; // Hacer positiva la diferencia para el bucle
        for (int i = 0; i < diferencia_pasos; i++) {
            HAL_GPIO_WritePin(GPIOE, GPIO_PIN_9, GPIO_PIN_SET);
            HAL_Delay(VELOCIDAD);
            HAL_GPIO_WritePin(GPIOE, GPIO_PIN_9, GPIO_PIN_RESET);
            HAL_Delay(VELOCIDAD);
        }
    }

    // Actualizar el paso actual
    paso_actual_q3 = nuevo_paso;

    HAL_Delay(1000);
}

/* USER CODE END 4 */

void Error_Handler(void)
{
  __disable_irq();
  while (1)
  {
  }
}
